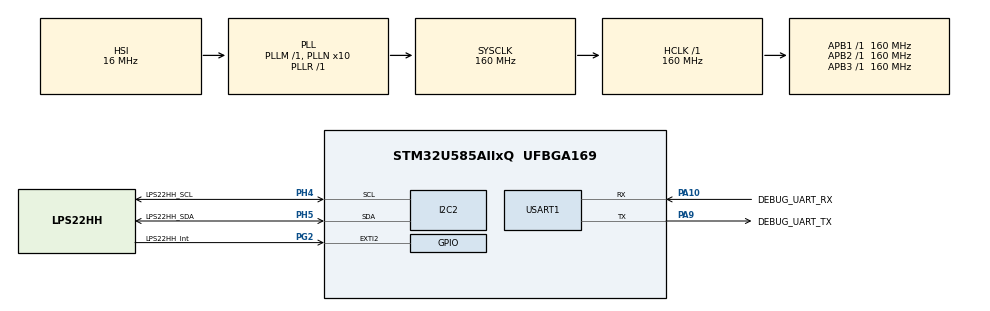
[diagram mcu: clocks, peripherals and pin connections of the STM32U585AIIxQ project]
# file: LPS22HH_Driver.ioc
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CORTEX_M33_NS.userName=CORTEX_M33
I2C2.Timing=0x30909DEC
Mcu.Family=STM32U5
Mcu.Name=STM32U585AIIxQ
Mcu.Package=UFBGA169
NVIC.EXTI2_IRQn=true\:0\:0\:false\:false\:true\:true\:true\:true
NVIC.PriorityGroup=NVIC_PRIORITYGROUP_4
PA10.GPIO_Label=DEBUG_UART_RX
PA10.Mode=Asynchronous
PA10.Signal=USART1_RX
PA13\ (JTMS/SWDIO).Mode=Trace_Asynchronous_SW
PA13\ (JTMS/SWDIO).Signal=DEBUG_JTMS-SWDIO
PA14\ (JTCK/SWCLK).Mode=Trace_Asynchronous_SW
PA14\ (JTCK/SWCLK).Signal=DEBUG_JTCK-SWCLK
PA9.GPIO_Label=DEBUG_UART_TX
PA9.Mode=Asynchronous
PA9.Signal=USART1_TX
PB3\ (JTDO/TRACESWO).Mode=Trace_Asynchronous_SW
PB3\ (JTDO/TRACESWO).Signal=DEBUG_JTDO-SWO
PG2.GPIO_Label=LPS22HH_Int
PG2.Signal=GPXTI2
PH4.GPIO_Label=LPS22HH_SCL
PH4.Mode=I2C
PH4.Signal=I2C2_SCL
PH5.GPIO_Label=LPS22HH_SDA
PH5.Mode=I2C
PH5.Signal=I2C2_SDA
ProjectManager.HeapSize=0x200
ProjectManager.StackSize=0x400
ProjectManager.TargetToolchain=STM32CubeIDE
RCC.ADCFreq_Value=16000000
RCC.AHBFreq_Value=160000000
RCC.APB1Freq_Value=160000000
RCC.APB1TimFreq_Value=160000000
RCC.APB2Freq_Value=160000000
RCC.APB2TimFreq_Value=160000000
RCC.APB3Freq_Value=160000000
RCC.CortexFreq_Value=20000000
RCC.Cortex_Div=SYSTICK_CLKSOURCE_HCLK_DIV8
RCC.DACCLockSelectionVirtual=RCC_DAC1CLKSOURCE_LSI
RCC.DACCLockSelectionVirtualString=RCC_DAC1CLKSOURCE_LSI
RCC.EPOD_VALUE=16000000
RCC.HCLKFreq_Value=160000000
RCC.HSE_VALUE=16000000
RCC.HSI48_VALUE=48000000
RCC.HSI_VALUE=16000000
RCC.LSE_VALUE=32768
RCC.LSIDIV_VALUE=32000
RCC.MSI_VALUE=4000000
RCC.PLL1R=1
RCC.PLLFRACN=0
RCC.PLLN=10
RCC.PLLSourceVirtual=RCC_PLLSOURCE_HSI
RCC.SYSCLKFreq_VALUE=160000000
RCC.SYSCLKSource=RCC_SYSCLKSOURCE_PLLCLK
RCC.USBFreq_Value=48000000
RCC.VCOOutputFreq_Value=160000000
USART1.VirtualMode-Asynchronous=VM_ASYNC
VP_ICACHE_VS_ICACHE.Mode=DirectMappedCache
VP_LPBAMQUEUE_VS_QUEUE.Mode=QUEUEMODE
VP_LPBAM_VS_SIG1.Mode=SmartRun
VP_LPBAM_VS_SIG4.Mode=LPDMA1
VP_PWR_VS_DBSignals.Mode=DisableDeadBatterySignals
VP_PWR_VS_LPOM.Mode=PowerOptimisation
VP_PWR_VS_SECSignals.Mode=Security/Privilege
board=custom

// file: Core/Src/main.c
/* USER CODE BEGIN Header */
/**
  ******************************************************************************
  * @file           : main.c
  * @brief          : Main program body
  ******************************************************************************
  * @attention
  *
  * Copyright (c) 2022 STMicroelectronics.
  * All rights reserved.
  *
  * This software is licensed under terms that can be found in the LICENSE file
  * in the root directory of this software component.
  * If no LICENSE file comes with this software, it is provided AS-IS.
  *
  ******************************************************************************
  */
/* USER CODE END Header */
#include "main.h"
#include "i2c.h"
#include "icache.h"
#include "usart.h"
#include "gpio.h"

/* USER CODE BEGIN Includes */
#include "LPS22HH.h"
#include "log.h"
/* USER CODE END Includes */

/* USER CODE BEGIN PV */
LPS22HH_Handle_t PressureSensor;
float pressure_log[128];
/* USER CODE END PV */

void SystemClock_Config(void);
static void SystemPower_Config(void);

int main(void)
{
  /* USER CODE BEGIN 1 */
  LPS22HH_Init_Struct_t PressureSensor_Init = {
		  .DataReadyPinCtrl = LPS22HH_DataReadySignalEvent,
		  .IRQMode = 0,
		  .IRQPolarity = LPS22HH_IRQActiveHigh,
		  .LowNoiseLowCurrent = LPS22HH_LowNoiseMode,
		  .LowPassFilterMode = LPS22HH_Div20,
		  .OutputDataRate = LPS22HH_10Hz,
		  .PresThreshold = 0,
		  .ReferencePressure = 0
  };
  /* USER CODE END 1 */

  /* MCU Configuration--------------------------------------------------------*/

  /* Reset of all peripherals, Initializes the Flash interface and the Systick. */
  HAL_Init();

  /* Configure the system clock */
  SystemClock_Config();

  /* Configure the System Power */
  SystemPower_Config();

  /* Initialize all configured peripherals */
  MX_GPIO_Init();
  MX_I2C2_Init();
  MX_USART1_UART_Init();
  MX_ICACHE_Init();
  /* USER CODE BEGIN 2 */
  log_init();
  LPS22HH_Init(PressureSensor_Init, &PressureSensor, LPS22HH_Hardware_Drv);
  uint32_t stop_time;
  uint32_t samples;
  uint32_t current_time = HAL_GetTick();
  stop_time = current_time + 5000;
  uint32_t profiler = 0;
  /* USER CODE END 2 */

  /* Infinite loop */
  /* USER CODE BEGIN WHILE */
  while (1)
  {

	  samples = 0;
	  while(current_time < stop_time){
		  if(PressureSensor.DataReadyFlag == LPS22HH_DataReady || PressureSensor.LPS22HH_IO.ioctl(LPS22HH_ReadIntPin) == 1){
			  LPS22HH_ReadPressure(&PressureSensor);
			  pressure_log[samples] = PressureSensor.Pressure;
			  samples++;
		  }
		  current_time = HAL_GetTick();
	  }
	  profiler++;
    /* USER CODE END WHILE */

  }
}

void SystemClock_Config(void)
{
  RCC_OscInitTypeDef RCC_OscInitStruct = {0};
  RCC_ClkInitTypeDef RCC_ClkInitStruct = {0};

  /** Configure the main internal regulator output voltage
  */
  if (HAL_PWREx_ControlVoltageScaling(PWR_REGULATOR_VOLTAGE_SCALE1) != HAL_OK)
  {
    Error_Handler();
  }

  /** Initializes the CPU, AHB and APB busses clocks
  */
  RCC_OscInitStruct.OscillatorType = RCC_OSCILLATORTYPE_HSI;
  RCC_OscInitStruct.HSIState = RCC_HSI_ON;
  RCC_OscInitStruct.HSICalibrationValue = RCC_HSICALIBRATION_DEFAULT;
  RCC_OscInitStruct.PLL.PLLState = RCC_PLL_ON;
  RCC_OscInitStruct.PLL.PLLSource = RCC_PLLSOURCE_HSI;
  RCC_OscInitStruct.PLL.PLLMBOOST = RCC_PLLMBOOST_DIV1;
  RCC_OscInitStruct.PLL.PLLM = 1;
  RCC_OscInitStruct.PLL.PLLN = 10;
  RCC_OscInitStruct.PLL.PLLP = 2;
  RCC_OscInitStruct.PLL.PLLQ = 2;
  RCC_OscInitStruct.PLL.PLLR = 1;
  RCC_OscInitStruct.PLL.PLLRGE = RCC_PLLVCIRANGE_1;
  RCC_OscInitStruct.PLL.PLLFRACN = 0;
  if (HAL_RCC_OscConfig(&RCC_OscInitStruct) != HAL_OK)
  {
    Error_Handler();
  }

  /** Initializes the CPU, AHB and APB busses clocks
  */
  RCC_ClkInitStruct.ClockType = RCC_CLOCKTYPE_HCLK|RCC_CLOCKTYPE_SYSCLK
                              |RCC_CLOCKTYPE_PCLK1|RCC_CLOCKTYPE_PCLK2
                              |RCC_CLOCKTYPE_PCLK3;
  RCC_ClkInitStruct.SYSCLKSource = RCC_SYSCLKSOURCE_PLLCLK;
  RCC_ClkInitStruct.AHBCLKDivider = RCC_SYSCLK_DIV1;
  RCC_ClkInitStruct.APB1CLKDivider = RCC_HCLK_DIV1;
  RCC_ClkInitStruct.APB2CLKDivider = RCC_HCLK_DIV1;
  RCC_ClkInitStruct.APB3CLKDivider = RCC_HCLK_DIV1;

  if (HAL_RCC_ClockConfig(&RCC_ClkInitStruct, FLASH_LATENCY_4) != HAL_OK)
  {
    Error_Handler();
  }
}

/**
  * @brief Power Configuration
  * @retval None
  */
static void SystemPower_Config(void)
{
  HAL_PWREx_EnableVddIO2();

  /*
   * Disable the internal Pull-Up in Dead Battery pins of UCPD peripheral
   */
  HAL_PWREx_DisableUCPDDeadBattery();
}

void Error_Handler(void)
{
  __disable_irq();
  while (1)
  {
  }
}
